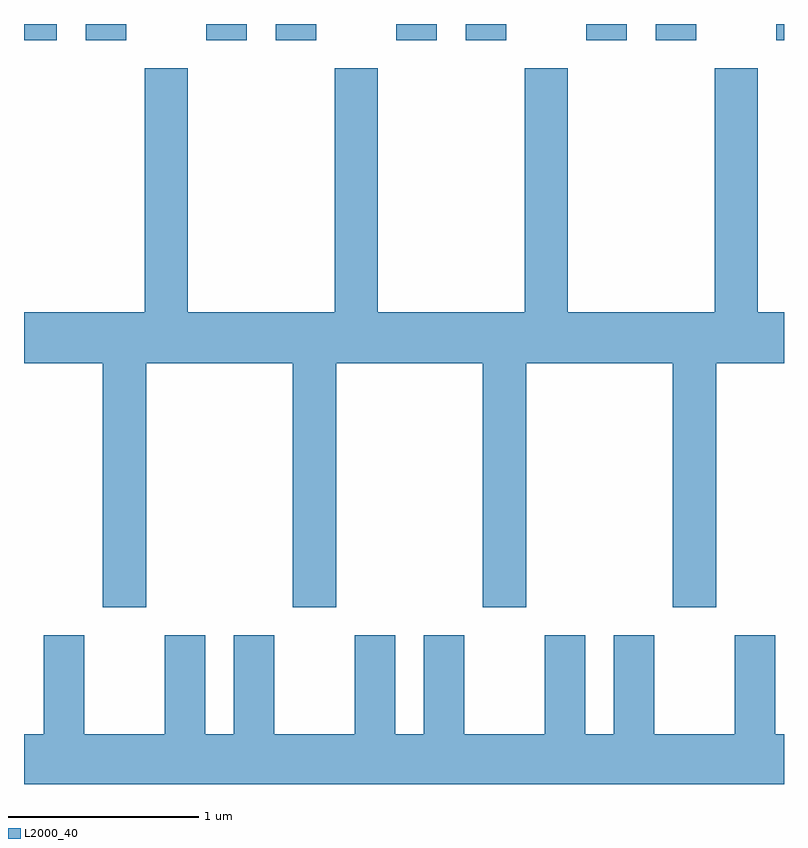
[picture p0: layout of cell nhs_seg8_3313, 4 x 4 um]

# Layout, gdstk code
import gdstk
lib = gdstk.Library(unit=1e-6, precision=1e-09)
def R(c, l, rs):  # rectangles x0, y0, x1, y1
    for r in rs: c.add(gdstk.rectangle(r[:2], r[2:], *l))
def P(c, l, *ps):  # polygons
    for p in ps: c.add(gdstk.Polygon(p, *l))
L2000_40 = (2000, 40)

nhs_seg8_3313 = lib.new_cell('nhs_seg8_3313')
R(nhs_seg8_3313, L2000_40, [(283.611,1920.256,283.784,1920.342), (283.936,1920.256,284.149,1920.342), (284.571,1920.256,284.784,1920.342), (284.936,1920.256,285.149,1920.342), (285.571,1920.256,285.784,1920.342), (285.936,1920.256,286.149,1920.342), (286.571,1920.256,286.784,1920.342), (286.936,1920.256,287.149,1920.342), (287.571,1920.256,287.611,1920.342)])
P(nhs_seg8_3313, L2000_40, [(287.254,1918.556),(287.611,1918.556),(287.611,1918.824),(287.474,1918.824),(287.474,1920.109),(287.246,1920.109),(287.246,1918.824),(286.474,1918.824),(286.474,1920.109),(286.246,1920.109),(286.246,1918.824),(285.474,1918.824),(285.474,1920.109),(285.246,1920.109),(285.246,1918.824),(284.474,1918.824),(284.474,1920.109),(284.246,1920.109),(284.246,1918.824),(283.611,1918.824),(283.611,1918.556),(284.026,1918.556),(284.026,1917.271),(284.254,1917.271),(284.254,1918.556),(285.026,1918.556),(285.026,1917.271),(285.254,1917.271),(285.254,1918.556),(286.026,1918.556),(286.026,1917.271),(286.254,1917.271),(286.254,1918.556),(287.026,1918.556),(287.026,1917.271),(287.254,1917.271)],
  [(283.929,1917.124),(283.716,1917.124),(283.716,1916.604),(283.611,1916.604),(283.611,1916.342),(287.611,1916.342),(287.611,1916.604),(287.564,1916.604),(287.564,1917.124),(287.351,1917.124),(287.351,1916.604),(286.929,1916.604),(286.929,1917.124),(286.716,1917.124),(286.716,1916.604),(286.564,1916.604),(286.564,1917.124),(286.351,1917.124),(286.351,1916.604),(285.929,1916.604),(285.929,1917.124),(285.716,1917.124),(285.716,1916.604),(285.564,1916.604),(285.564,1917.124),(285.351,1917.124),(285.351,1916.604),(284.929,1916.604),(284.929,1917.124),(284.716,1917.124),(284.716,1916.604),(284.564,1916.604),(284.564,1917.124),(284.351,1917.124),(284.351,1916.604),(283.929,1916.604)])

lib.write_gds('nhs_seg8_3313.gds')
